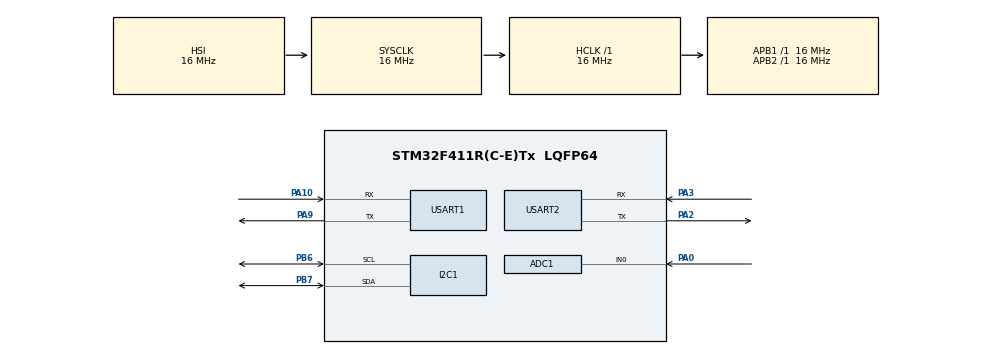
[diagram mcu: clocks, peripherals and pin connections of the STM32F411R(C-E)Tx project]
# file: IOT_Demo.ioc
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ADC1.Channel-0\#ChannelRegularConversion=ADC_CHANNEL_0
ADC1.NbrOfConversionFlag=1
ADC1.Rank-0\#ChannelRegularConversion=1
ADC1.SamplingTime-0\#ChannelRegularConversion=ADC_SAMPLETIME_3CYCLES
ADC1.master=1
Mcu.Family=STM32F4
Mcu.Name=STM32F411R(C-E)Tx
Mcu.Package=LQFP64
NVIC.PriorityGroup=NVIC_PRIORITYGROUP_4
NVIC.USART1_IRQn=true\:0\:0\:false\:false\:true\:true\:true\:true
NVIC.USART2_IRQn=true\:0\:0\:false\:false\:true\:true\:true\:true
PA0-WKUP.Signal=ADCx_IN0
PA10.Mode=Asynchronous
PA10.Signal=USART1_RX
PA13.Mode=Serial_Wire
PA13.Signal=SYS_JTMS-SWDIO
PA14.Mode=Serial_Wire
PA14.Signal=SYS_JTCK-SWCLK
PA2.Mode=Asynchronous
PA2.Signal=USART2_TX
PA3.Mode=Asynchronous
PA3.Signal=USART2_RX
PA9.Mode=Asynchronous
PA9.Signal=USART1_TX
PB6.GPIO_Pu=GPIO_PULLUP
PB6.Mode=I2C
PB6.Signal=I2C1_SCL
PB7.GPIO_Pu=GPIO_PULLUP
PB7.Mode=I2C
PB7.Signal=I2C1_SDA
PH0\ -\ OSC_IN.Mode=HSE-External-Oscillator
PH0\ -\ OSC_IN.Signal=RCC_OSC_IN
PH1\ -\ OSC_OUT.Mode=HSE-External-Oscillator
PH1\ -\ OSC_OUT.Signal=RCC_OSC_OUT
ProjectManager.HeapSize=0x200
ProjectManager.StackSize=0x400
ProjectManager.TargetToolchain=STM32CubeIDE
RCC.AHBFreq_Value=16000000
RCC.APB1Freq_Value=16000000
RCC.APB2Freq_Value=16000000
RCC.CortexFreq_Value=16000000
RCC.HSE_VALUE=25000000
RCC.HSI_VALUE=16000000
RCC.LSE_VALUE=32768
RCC.SYSCLKFreq_VALUE=16000000
RCC.VCOOutputFreq_Value=192000000
SH.ADCx_IN0.0=ADC1_IN0,IN0
USART1.VirtualMode=VM_ASYNC
USART2.VirtualMode=VM_ASYNC
board=custom

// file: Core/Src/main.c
/* USER CODE BEGIN Header */
/**
  ******************************************************************************
  * @file           : main.c
  * @brief          : Main program body
  ******************************************************************************
  * @attention
  *
  * Copyright (c) 2026 STMicroelectronics.
  * All rights reserved.
  *
  * This software is licensed under terms that can be found in the LICENSE file
  * in the root directory of this software component.
  * If no LICENSE file comes with this software, it is provided AS-IS.
  *
  ******************************************************************************
  */
/* USER CODE END Header */
#include "main.h"

/* USER CODE BEGIN Includes */
#include <stdio.h>
#include <string.h>
#include "sht3x.h"
/* USER CODE END Includes */

/* USER CODE BEGIN PD */
#define DEMO_MOCK_SHT3X  1
/* USER CODE END PD */

ADC_HandleTypeDef hadc1;

I2C_HandleTypeDef hi2c1;

UART_HandleTypeDef huart1;
UART_HandleTypeDef huart2;

/* USER CODE BEGIN PV */
SHT3x_t sht3x;
float temperature, humidity;
uint32_t soil_adc;
float soil_percent;
char uart_buf[100];
/* USER CODE END PV */

void SystemClock_Config(void);
static void MX_GPIO_Init(void);
static void MX_USART1_UART_Init(void);
static void MX_USART2_UART_Init(void);
static void MX_ADC1_Init(void);
static void MX_I2C1_Init(void);

/* USER CODE BEGIN 0 */
float soil_moisture_percent(uint32_t adc)
{
    const float ADC_DRY = 4095.0f;
    const float ADC_WET = 1500.0f;
    const float W_REF   = 30.0f;

    if (adc >= ADC_DRY) return 0.0f;
    if (adc <= ADC_WET) return W_REF;

    return (ADC_DRY - adc) * W_REF / (ADC_DRY - ADC_WET);
}
void mock_sht3x(float *t, float *h)
{
    static float temp = 25.0f;
    static float humi = 60.0f;
    static int dir = 1;

    temp += 0.1f * dir;
    humi += 0.2f * dir;

    if (temp > 30.0f || temp < 25.0f)
        dir = -dir;

    if (humi > 80.0f) humi = 60.0f;
    if (humi < 50.0f) humi = 50.0f;

    *t = temp;
    *h = humi;
}
void mock_uv_aqi(float *uv, int *aqi)
{
    static float uv_val = 3.0f;
    static int aqi_val = 70;
    static int dir = 1;

    uv_val += 0.2f * dir;
    if (uv_val > 8.0f || uv_val < 2.0f)
        dir = -dir;

    aqi_val += 3 * dir;
    if (aqi_val > 150) aqi_val = 80;
    if (aqi_val < 50)  aqi_val = 50;

    *uv = uv_val;
    *aqi = aqi_val;
}
/* USER CODE END 0 */

int main(void)
{

  /* MCU Configuration--------------------------------------------------------*/

  /* Reset of all peripherals, Initializes the Flash interface and the Systick. */
  HAL_Init();

  /* Configure the system clock */
  SystemClock_Config();

  /* Initialize all configured peripherals */
  MX_GPIO_Init();
  MX_USART1_UART_Init();
  MX_USART2_UART_Init();
  MX_ADC1_Init();
  MX_I2C1_Init();
  /* USER CODE BEGIN 2 */
  // Init SHT3x struct
	#if DEMO_MOCK_SHT3X
		sprintf(uart_buf, ">>> DEMO MODE: MOCK SHT3x ENABLED <<<\r\n");
		HAL_UART_Transmit(&huart2,
						  (uint8_t *)uart_buf,
						  strlen(uart_buf),
						  100);
	#else
		// Init SHT3x struct (REAL SENSOR)
		HAL_Delay(20);
		sht3x.hi2c    = &hi2c1;
		sht3x.address = SHT3X_ADDR_LOW; // 0x44

		if (!SHT3x_Init(&sht3x))
		{
			sprintf(uart_buf, "SHT3x init FAIL\r\n");
			HAL_UART_Transmit(&huart2,
							  (uint8_t *)uart_buf,
							  strlen(uart_buf),
							  100);
			while (1);   // chỉ block trong REAL MODE
		}
		else
		{
			sprintf(uart_buf, "SHT3x init OK\r\n");
			HAL_UART_Transmit(&huart2,
							  (uint8_t *)uart_buf,
							  strlen(uart_buf),
							  100);
		}
	#endif
  /* USER CODE END 2 */

  /* Infinite loop */
  /* USER CODE BEGIN WHILE */
  while (1)
  {
	  /* ---- Read SHT3x ---- */
	#if DEMO_MOCK_SHT3X
		mock_sht3x(&temperature, &humidity);
		uint8_t sht_ok = 1;
	#else
		uint8_t sht_ok = SHT3x_ReadTempHum(&sht3x, &temperature, &humidity);
	#endif

	if (sht_ok)
	{
		/* ---- Read soil moisture ADC (REAL) ---- */
		HAL_ADC_Start(&hadc1);
		HAL_ADC_PollForConversion(&hadc1, 10);
		soil_adc = HAL_ADC_GetValue(&hadc1);
		HAL_ADC_Stop(&hadc1);

		soil_percent = soil_moisture_percent(soil_adc);

        /* ---------- Mock UV + AQI ---------- */
        float uv;
        int aqi;
        mock_uv_aqi(&uv, &aqi);

        /* ---------- Build ENV frame ---------- */
        int len = snprintf(uart_buf, sizeof(uart_buf),
            "$ENV,%.2f,%.2f,%.1f,%lu,%.1f,%d\r\n",
            temperature,
            humidity,
            soil_percent,
            soil_adc,
            uv,
            aqi
        );

        /* ---------- Send to ESP32 ---------- */
        HAL_UART_Transmit(&huart1,
                          (uint8_t*)uart_buf,
                          len,
                          HAL_MAX_DELAY);

        /* ---------- Debug to PC ---------- */
        snprintf(uart_buf, sizeof(uart_buf),
            "[DEMO] T=%.2fC H=%.2f%% Soil=%.1f%% UV=%.1f AQI=%d\r\n",
            temperature, humidity, soil_percent, uv, aqi
        );
	}
	else
	{
		sprintf(uart_buf, "SHT3x read FAIL\r\n");
	}

	HAL_UART_Transmit(&huart2,
					  (uint8_t *)uart_buf,
					  strlen(uart_buf),
					  100);

	HAL_Delay(500);
    /* USER CODE END WHILE */

  }
}

void SystemClock_Config(void)
{
  RCC_OscInitTypeDef RCC_OscInitStruct = {0};
  RCC_ClkInitTypeDef RCC_ClkInitStruct = {0};

  /** Configure the main internal regulator output voltage
  */
  __HAL_RCC_PWR_CLK_ENABLE();
  __HAL_PWR_VOLTAGESCALING_CONFIG(PWR_REGULATOR_VOLTAGE_SCALE1);

  /** Initializes the RCC Oscillators according to the specified parameters
  * in the RCC_OscInitTypeDef structure.
  */
  RCC_OscInitStruct.OscillatorType = RCC_OSCILLATORTYPE_HSI;
  RCC_OscInitStruct.HSIState = RCC_HSI_ON;
  RCC_OscInitStruct.HSICalibrationValue = RCC_HSICALIBRATION_DEFAULT;
  RCC_OscInitStruct.PLL.PLLState = RCC_PLL_NONE;
  if (HAL_RCC_OscConfig(&RCC_OscInitStruct) != HAL_OK)
  {
    Error_Handler();
  }

  /** Initializes the CPU, AHB and APB buses clocks
  */
  RCC_ClkInitStruct.ClockType = RCC_CLOCKTYPE_HCLK|RCC_CLOCKTYPE_SYSCLK
                              |RCC_CLOCKTYPE_PCLK1|RCC_CLOCKTYPE_PCLK2;
  RCC_ClkInitStruct.SYSCLKSource = RCC_SYSCLKSOURCE_HSI;
  RCC_ClkInitStruct.AHBCLKDivider = RCC_SYSCLK_DIV1;
  RCC_ClkInitStruct.APB1CLKDivider = RCC_HCLK_DIV1;
  RCC_ClkInitStruct.APB2CLKDivider = RCC_HCLK_DIV1;

  if (HAL_RCC_ClockConfig(&RCC_ClkInitStruct, FLASH_LATENCY_0) != HAL_OK)
  {
    Error_Handler();
  }
}

static void MX_ADC1_Init(void)
{

  ADC_ChannelConfTypeDef sConfig = {0};

  /** Configure the global features of the ADC (Clock, Resolution, Data Alignment and number of conversion)
  */
  hadc1.Instance = ADC1;
  hadc1.Init.ClockPrescaler = ADC_CLOCK_SYNC_PCLK_DIV2;
  hadc1.Init.Resolution = ADC_RESOLUTION_12B;
  hadc1.Init.ScanConvMode = DISABLE;
  hadc1.Init.ContinuousConvMode = DISABLE;
  hadc1.Init.DiscontinuousConvMode = DISABLE;
  hadc1.Init.ExternalTrigConvEdge = ADC_EXTERNALTRIGCONVEDGE_NONE;
  hadc1.Init.ExternalTrigConv = ADC_SOFTWARE_START;
  hadc1.Init.DataAlign = ADC_DATAALIGN_RIGHT;
  hadc1.Init.NbrOfConversion = 1;
  hadc1.Init.DMAContinuousRequests = DISABLE;
  hadc1.Init.EOCSelection = ADC_EOC_SINGLE_CONV;
  if (HAL_ADC_Init(&hadc1) != HAL_OK)
  {
    Error_Handler();
  }

  /** Configure for the selected ADC regular channel its corresponding rank in the sequencer and its sample time.
  */
  sConfig.Channel = ADC_CHANNEL_0;
  sConfig.Rank = 1;
  sConfig.SamplingTime = ADC_SAMPLETIME_3CYCLES;
  if (HAL_ADC_ConfigChannel(&hadc1, &sConfig) != HAL_OK)
  {
    Error_Handler();
  }

}

static void MX_I2C1_Init(void)
{

  hi2c1.Instance = I2C1;
  hi2c1.Init.ClockSpeed = 100000;
  hi2c1.Init.DutyCycle = I2C_DUTYCYCLE_2;
  hi2c1.Init.OwnAddress1 = 0;
  hi2c1.Init.AddressingMode = I2C_ADDRESSINGMODE_7BIT;
  hi2c1.Init.DualAddressMode = I2C_DUALADDRESS_DISABLE;
  hi2c1.Init.OwnAddress2 = 0;
  hi2c1.Init.GeneralCallMode = I2C_GENERALCALL_DISABLE;
  hi2c1.Init.NoStretchMode = I2C_NOSTRETCH_DISABLE;
  if (HAL_I2C_Init(&hi2c1) != HAL_OK)
  {
    Error_Handler();
  }

}

static void MX_USART1_UART_Init(void)
{

  huart1.Instance = USART1;
  huart1.Init.BaudRate = 115200;
  huart1.Init.WordLength = UART_WORDLENGTH_8B;
  huart1.Init.StopBits = UART_STOPBITS_1;
  huart1.Init.Parity = UART_PARITY_NONE;
  huart1.Init.Mode = UART_MODE_TX_RX;
  huart1.Init.HwFlowCtl = UART_HWCONTROL_NONE;
  huart1.Init.OverSampling = UART_OVERSAMPLING_16;
  if (HAL_UART_Init(&huart1) != HAL_OK)
  {
    Error_Handler();
  }

}

static void MX_USART2_UART_Init(void)
{

  huart2.Instance = USART2;
  huart2.Init.BaudRate = 115200;
  huart2.Init.WordLength = UART_WORDLENGTH_8B;
  huart2.Init.StopBits = UART_STOPBITS_1;
  huart2.Init.Parity = UART_PARITY_NONE;
  huart2.Init.Mode = UART_MODE_TX_RX;
  huart2.Init.HwFlowCtl = UART_HWCONTROL_NONE;
  huart2.Init.OverSampling = UART_OVERSAMPLING_16;
  if (HAL_UART_Init(&huart2) != HAL_OK)
  {
    Error_Handler();
  }

}

static void MX_GPIO_Init(void)
{

  /* GPIO Ports Clock Enable */
  __HAL_RCC_GPIOH_CLK_ENABLE();
  __HAL_RCC_GPIOA_CLK_ENABLE();
  __HAL_RCC_GPIOB_CLK_ENABLE();

}

/* USER CODE BEGIN 4 */
int _write(int file, char *ptr, int len)
{
    HAL_UART_Transmit(&huart2, (uint8_t *)ptr, len, HAL_MAX_DELAY);
    return len;
}
/* USER CODE END 4 */

void Error_Handler(void)
{
  __disable_irq();
  while (1)
  {
  }
}
